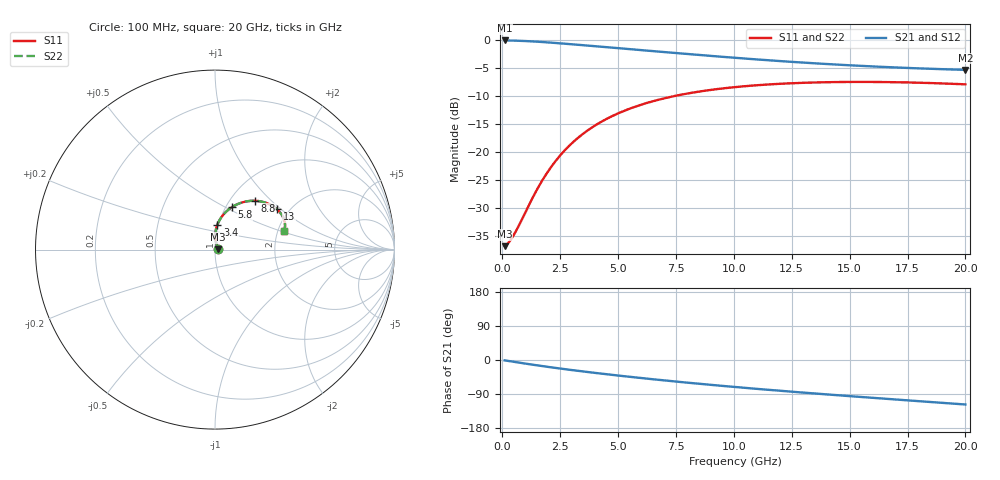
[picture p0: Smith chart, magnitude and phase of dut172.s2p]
! Created with skrf 1.9.0 (http://scikit-rf.org).
# GHz S RI R 50.0
!freq ReS11 ImS11 ReS21 ImS21 ReS12 ImS12 ReS22 ImS22
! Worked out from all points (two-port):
!   200 points, 100 MHz to 20 GHz, reference 50 ohm
!   highest |S21| = -0.12 dB at 100 MHz (marker M1); lowest = -5.4 dB at 20 GHz (marker M2)
!   |S21| within 3 dB of the highest: start of sweep to 9.733 GHz
!   lowest |S11| = -36.9 dB at 100 MHz (marker M3), VSWR 1.03, Z = 51.4 + j0.254 ohm
!   |S11| at or under -10 dB: start of sweep to 7.507 GHz
!   |S22| runs from -36.9 to -7.5 dB; largest |S21 - S12| = 2.2e-15
!   S11 on the Smith chart (normalised r, x): 100 MHz: 1.03, +0.01; 3.4 GHz: 0.99, +0.28; 5.8 GHz: 1.07, +0.54; 8.8 GHz: 1.29, +0.80; 13 GHz: 1.74, +0.94; 20 GHz: 2.16, +0.55
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0.1  0.0141 0.00247  0.9856 -0.0167  0.9856 -0.0167  0.0141 0.00247
0.3  0.0137 0.00751  0.9833 -0.0501  0.9833 -0.0501  0.0137 0.00751
0.5  0.0128 0.0127  0.9791 -0.0829  0.9791 -0.0829  0.0128 0.0127
1.4  0.00532 0.0417  0.9386 -0.2202  0.9386 -0.2202  0.00532 0.0417
1.7  0.00302 0.0541  0.9191 -0.261  0.9191 -0.261  0.00302 0.0541
2  0.00161 0.0677  0.8975 -0.2991  0.8975 -0.2991  0.00161 0.0677
2.3  0.0014 0.0823  0.8742 -0.3345  0.8742 -0.3345  0.0014 0.0823
2.7  0.00334 0.1028  0.8413 -0.3776  0.8413 -0.3776  0.00334 0.1028
3.4  0.0132 0.1391  0.7805 -0.443  0.7805 -0.443  0.0132 0.1391
3.5  0.0153 0.1442  0.7716 -0.4513  0.7716 -0.4513  0.0153 0.1442
4  0.0278 0.1687  0.7265 -0.4899  0.7265 -0.4899  0.0278 0.1687
4.5  0.0435 0.191  0.681 -0.5233  0.681 -0.5233  0.0435 0.191
5.1  0.0655 0.2145  0.6262 -0.5572  0.6262 -0.5572  0.0655 0.2145
5.8  0.0943 0.2366  0.5628 -0.5891  0.5628 -0.5891  0.0943 0.2366
6.8  0.1379 0.2584  0.4747 -0.622  0.4747 -0.622  0.1379 0.2584
7.8  0.1815 0.2696  0.3908 -0.6422  0.3908 -0.6422  0.1815 0.2696
8.8  0.2226 0.272  0.3121 -0.6521  0.3121 -0.6521  0.2226 0.272
10.1  0.27 0.2649  0.2183 -0.653  0.2183 -0.653  0.27 0.2649
13  0.3461 0.2241  0.043 -0.6233  0.043 -0.6233  0.3461 0.2241
13.4  0.3534 0.217  0.022 -0.6171  0.022 -0.6171  0.3534 0.217
16.7  0.3877 0.1571  -0.1277 -0.5542  -0.1277 -0.5542  0.3877 0.1571
20  0.385 0.1064  -0.2478 -0.4775  -0.2478 -0.4775  0.385 0.1064
